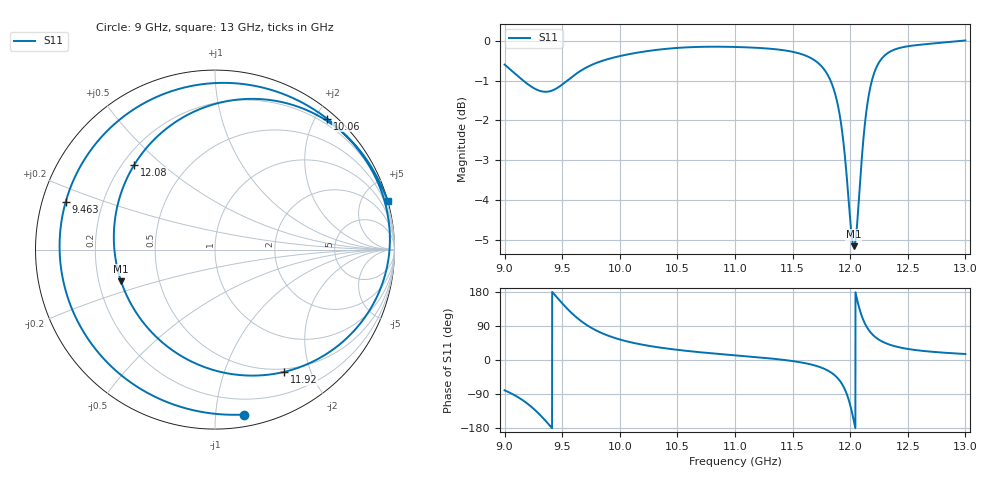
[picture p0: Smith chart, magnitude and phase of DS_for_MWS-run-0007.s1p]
! TOUCHSTONE file generated by CST DESIGN STUDIO
! Date and time: Tue Feb  4 14:26:50 2025
! Project name: C:\Work\MatlabApps\UnitCellOptimizationMatlab\CST\unitcell.cst
! Tree item: Tasks\Sweep1\SPara1\S-Parameters
! Header version: 2024
! Port assignment regex: !\s*Touchstone port\s*([0-9]+)\s*=\s*(CST MWS port|CST DES external port|CST DES block port)\s*(.+)\s* \(\"(.*)\"\)(\s*mode\s*([0-9]+))?.*
! Touchstone port assignment:
! Touchstone port 1 = CST DES external port 1 ("")
# GHz S MA R 50
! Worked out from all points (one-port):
!   4001 points, 9 GHz to 13 GHz, reference 50 ohm
!   lowest |S11| = -5.2 dB at 12.03 GHz (marker M1), VSWR 3.47, Z = 14.8 - j7.56 ohm
!   |S11| at or under -10 dB: nowhere
!   S11 on the Smith chart (normalised r, x): 9 GHz: 0.08, -1.19; 9.463 GHz: 0.07, +0.16; 10.06 GHz: 0.12, +2.16; 11.92 GHz: 0.46, -1.62; 12.08 GHz: 0.25, +0.41; 13 GHz: -0.01, +7.19
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9  0.9333 -80.0
9.138  0.8969 -102.2
9.244  0.8735 -126.6
9.367  0.8628 -164.3
9.463  0.8734 162.2
9.5  0.881 149.5
9.59  0.9019 121.6
9.686  0.9214 97.9
9.833  0.9419 72.5
10  0.9564 54.2
10.057  0.9603 49.5
10.5  0.9793 26.8
11  0.9819 12.4
11.5  0.9683 -2.8
11.786  0.9151 -24.8
11.864  0.8628 -39.9
11.923  0.7828 -60.5
11.966  0.6857 -86.4
12  0.596 -118.8
12.032  0.5524 -161.2
12.056  0.5795 164.8
12.082  0.6526 133.5
12.111  0.7425 107.6
12.142  0.819 88.1
12.241  0.934 55.3
12.344  0.9685 40.3
12.5  0.9839 29.2
13  1.001 15.8
